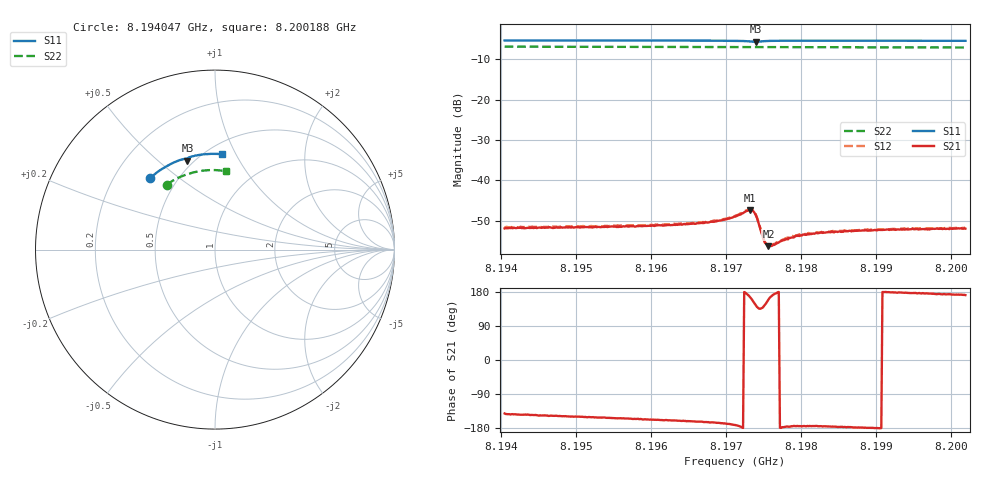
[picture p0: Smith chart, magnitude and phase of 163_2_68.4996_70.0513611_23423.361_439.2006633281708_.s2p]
#  HZ  S  RI  R  50.00
! Rohde & Schwarz Vector Network Analyzer
! Rohde-Schwarz,ZNB20-2Port,1311601062101988,3.16
! Created: UTC 3/20/2024, 5:11:01 PM
! freq[Hz]  re:S11  im:S11  re:S21  im:S21  re:S12  im:S12  re:S22  im:S22
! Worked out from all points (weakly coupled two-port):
!   401 points, 8.194047 GHz to 8.200188 GHz, reference 50 ohm
!   highest |S21| = -47.29 dB at 8.197317 GHz (marker M1); lowest = -56.3 dB at 8.197563 GHz (marker M2)
!   lowest |S11| = -5.7 dB at 8.197394 GHz (marker M3), VSWR 3.16, Z = 23.2 + j31.4 ohm
!   |S11| at or under -10 dB: nowhere
!   |S22| runs from -7.1 to -6.9 dB; largest |S21 - S12| = 0.0002
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8.1940475e9  -0.3615 0.3992  -0.00198 -0.0016  -0.00213 -0.00155  -0.2689 0.362
8.195076e9  -0.304 0.4436  -0.00228 -0.00133  -0.00239 -0.00124  -0.2199 0.3922
8.1961046e9  -0.2406 0.4799  -0.00259 -0.00104  -0.00266 -0.000936  -0.167 0.4158
8.196734e9  -0.1987 0.4977  -0.0029 -0.000851  -0.00303 -0.000739  -0.1336 0.4265
8.1968876e9  -0.1877 0.5014  -0.00306 -0.000782  -0.00309 -0.000655  -0.1251 0.4288
8.1971178e9  -0.1697 0.5057  -0.00352 -0.000526  -0.00362 -0.000372  -0.1125 0.4319
8.1972714e9  -0.1554 0.5043  -0.00418 0.000361  -0.00421 0.000514  -0.1039 0.4335
8.1973174e9  -0.152 0.5011  -0.0042 0.00102  -0.00423 0.0012  -0.1012 0.4339
8.1973635e9  -0.1517 0.497  -0.00371 0.00184  -0.00374 0.00201  -0.0989 0.4345
8.1973942e9  -0.1537 0.4954  -0.00302 0.00217  -0.00297 0.00235  -0.0973 0.4345
8.1974249e9  -0.1561 0.4964  -0.00229 0.0021  -0.00223 0.00224  -0.0957 0.435
8.1974863e9  -0.1572 0.5024  -0.0015 0.00135  -0.00147 0.00143  -0.0924 0.4358
8.1975016e9  -0.1565 0.5038  -0.00144 0.00113  -0.00143 0.0012  -0.0917 0.4361
8.1975323e9  -0.1548 0.5065  -0.00142 0.000829  -0.00139 0.000887  -0.0898 0.4363
8.197563e9  -0.1525 0.5087  -0.00144 0.00054  -0.00145 0.000627  -0.0881 0.4366
8.1976244e9  -0.1477 0.5119  -0.00157 0.000219  -0.0016 0.000327  -0.0846 0.4372
8.1977933e9  -0.1345 0.5172  -0.00186 -0.000119  -0.00191 -4.7e-05  -0.0752 0.4388
8.1979622e9  -0.1219 0.5208  -0.00205 -0.000195  -0.00212 -9.76e-05  -0.0657 0.44
8.1981464e9  -0.1085 0.5238  -0.00217 -0.000216  -0.00223 -0.000112  -0.0554 0.4411
8.198607e9  -0.0755 0.5292  -0.00236 -9.62e-05  -0.00237 -4.06e-05  -0.0293 0.4428
8.199175e9  -0.0351 0.5329  -0.00244 5.58e-05  -0.00248 9.84e-05  0.003 0.4428
8.2001882e9  0.0367 0.5317  -0.0025 0.000382  -0.00256 0.000496  0.0604 0.4366
